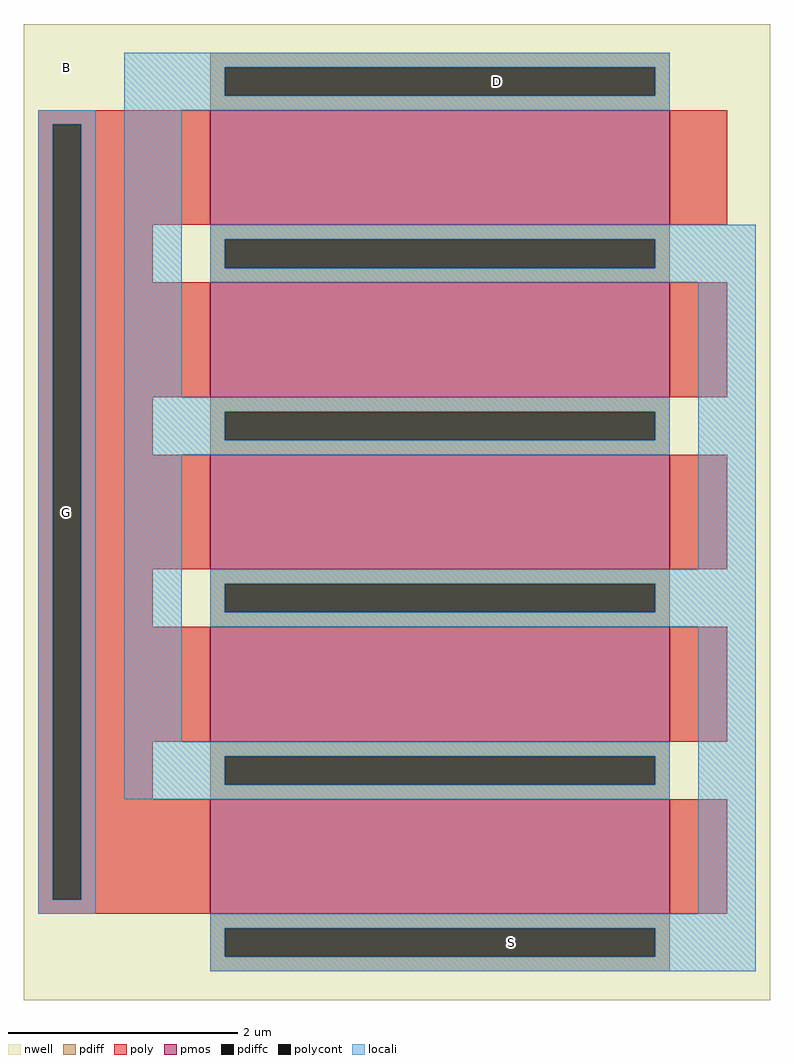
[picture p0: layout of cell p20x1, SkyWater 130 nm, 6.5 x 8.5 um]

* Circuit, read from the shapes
.subckt p20x1 D G S B
XM1 D G S B sky130_fd_pr__pfet_01v8 w=4 l=1 m=5
.ends

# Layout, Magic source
magic
tech sky130A
magscale 1 2
<< nwell >>
rect -225 -1150 1075 550
<< pmos >>
rect 100 200 900 400
rect 100 -100 900 100
rect 100 -400 900 -200
rect 100 -700 900 -500
rect 100 -1000 900 -800
<< pdiff >>
rect 100 475 900 500
rect 100 425 125 475
rect 875 425 900 475
rect 100 400 900 425
rect 100 175 900 200
rect 100 125 125 175
rect 875 125 900 175
rect 100 100 900 125
rect 100 -125 900 -100
rect 100 -175 125 -125
rect 875 -175 900 -125
rect 100 -200 900 -175
rect 100 -425 900 -400
rect 100 -475 125 -425
rect 875 -475 900 -425
rect 100 -500 900 -475
rect 100 -725 900 -700
rect 100 -775 125 -725
rect 875 -775 900 -725
rect 100 -800 900 -775
rect 100 -1025 900 -1000
rect 100 -1075 125 -1025
rect 875 -1075 900 -1025
rect 100 -1100 900 -1075
<< pdiffc >>
rect 125 425 875 475
rect 125 125 875 175
rect 125 -175 875 -125
rect 125 -475 875 -425
rect 125 -775 875 -725
rect 125 -1075 875 -1025
<< poly >>
rect -200 375 100 400
rect -200 -975 -175 375
rect -125 200 100 375
rect 900 200 1000 400
rect -125 100 0 200
rect -125 -100 100 100
rect 900 -100 1000 100
rect -125 -200 0 -100
rect -125 -400 100 -200
rect 900 -400 1000 -200
rect -125 -500 0 -400
rect -125 -700 100 -500
rect 900 -700 1000 -500
rect -125 -800 0 -700
rect -125 -975 100 -800
rect -200 -1000 100 -975
rect 900 -1000 1000 -800
<< polycont >>
rect -175 -975 -125 375
<< locali >>
rect -50 475 900 500
rect -50 425 125 475
rect 875 425 900 475
rect -50 400 900 425
rect -200 375 -100 400
rect -200 -975 -175 375
rect -125 -975 -100 375
rect -50 -100 50 400
rect 100 175 1050 200
rect 100 125 125 175
rect 875 125 1050 175
rect 100 100 1050 125
rect -50 -125 900 -100
rect -50 -175 125 -125
rect 875 -175 900 -125
rect -50 -200 900 -175
rect -50 -700 50 -200
rect 950 -400 1050 100
rect 100 -425 1050 -400
rect 100 -475 125 -425
rect 875 -475 1050 -425
rect 100 -500 1050 -475
rect -50 -725 900 -700
rect -50 -775 125 -725
rect 875 -775 900 -725
rect -50 -800 900 -775
rect -200 -1000 -100 -975
rect 950 -1000 1050 -500
rect 100 -1025 1050 -1000
rect 100 -1075 125 -1025
rect 875 -1075 1050 -1025
rect 100 -1100 1050 -1075
<< labels >>
flabel pdiffc 600 450 600 450 0 FreeSans 800 0 0 0 D
port 0 nsew
flabel pdiffc 625 -1050 625 -1050 0 FreeSans 800 0 0 0 S
port 2 nsew
flabel polycont -150 -300 -150 -300 0 FreeSans 800 0 0 0 G
port 1 nsew
flabel nwell -150 475 -150 475 0 FreeSans 800 0 0 0 B
port 3 nsew
<< end >>
